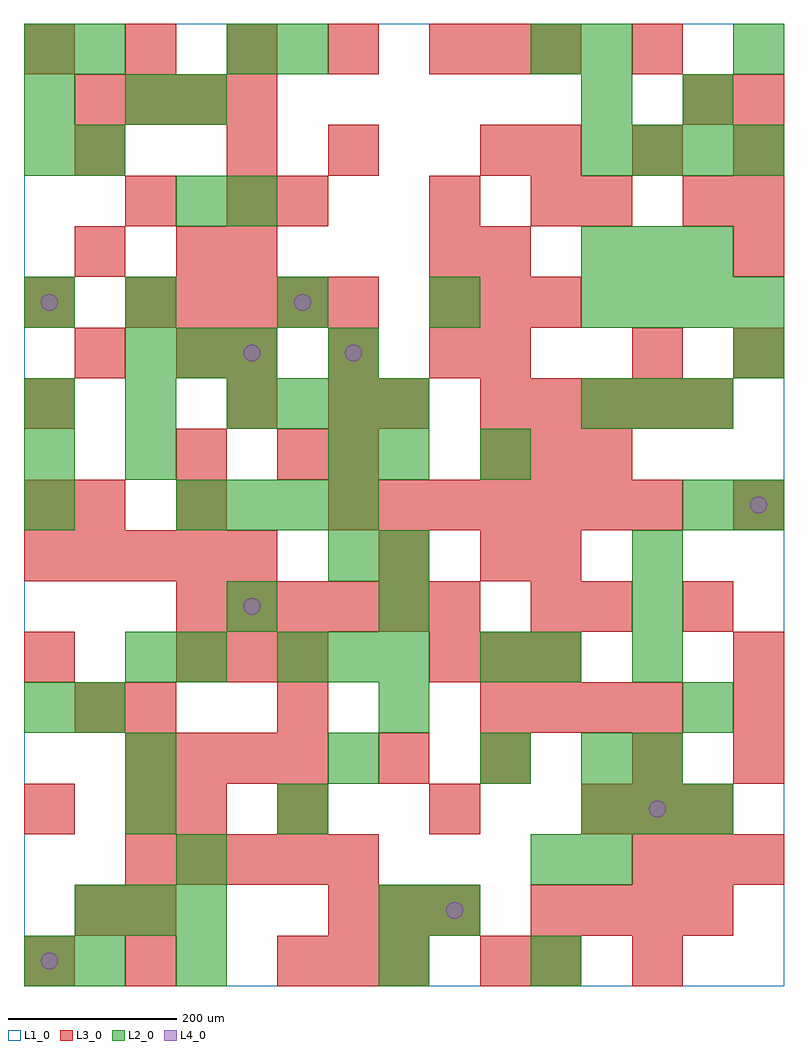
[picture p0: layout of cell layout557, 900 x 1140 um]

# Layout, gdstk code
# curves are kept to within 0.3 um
import gdstk
lib = gdstk.Library(unit=1e-6, precision=1e-09)
def R(c, l, rs):  # rectangles x0, y0, x1, y1
    for r in rs: c.add(gdstk.rectangle(r[:2], r[2:], *l))
def A(c, l, x, y, w, h, nx, ny, dx, dy):  # array of equal rectangles
    R(c, l, [(x+i*dx, y+j*dy, x+i*dx+w, y+j*dy+h) for i in range(nx) for j in range(ny)])
def P(c, l, *ps):  # polygons
    for p in ps: c.add(gdstk.Polygon(p, *l))
L1_0 = (1, 0)
L2_0 = (2, 0)
L3_0 = (3, 0)
L4_0 = (4, 0)

layout557 = lib.new_cell('layout557')
R(layout557, L1_0, [(0,0,900,1140)])
A(layout557, L2_0, 60, 60, 60, 60, 3, 1, 60, 0)
A(layout557, L2_0, 660, 180, 60, 60, 3, 2, 60, 480)
A(layout557, L2_0, 60, 300, 60, 60, 3, 1, 360, 0)
A(layout557, L2_0, 300, 360, 60, 60, 3, 2, 60, 300)
A(layout557, L2_0, 720, 360, 60, 60, 1, 3, 0, 60)
A(layout557, L2_0, 360, 480, 60, 60, 1, 3, 0, 120)
A(layout557, L2_0, 180, 540, 60, 60, 4, 1, 60, 0)
A(layout557, L2_0, 0, 600, 60, 60, 1, 3, 0, 180)
A(layout557, L2_0, 0, 660, 60, 60, 3, 1, 120, 0)
A(layout557, L2_0, 120, 720, 60, 60, 3, 1, 60, 0)
A(layout557, L2_0, 120, 780, 60, 60, 4, 1, 180, 0)
A(layout557, L2_0, 720, 780, 60, 60, 3, 1, 60, 0)
A(layout557, L2_0, 660, 840, 60, 60, 3, 1, 60, 0)
A(layout557, L2_0, 660, 960, 60, 60, 4, 1, 60, 0)
R(layout557, L2_0, [(0,0,60,60), (60,0,120,60), (180,0,240,60), (420,0,480,60), (600,0,660,60), (420,60,480,120), (480,60,540,120), (180,120,240,180), (600,120,660,180), (660,120,720,180), (120,180,180,240), (300,180,360,240), (120,240,180,300), (360,240,420,300), (540,240,600,300), (660,240,720,300), (720,240,780,300), (0,300,60,360), (120,360,180,420), (180,360,240,420), (540,360,600,420), (600,360,660,420), (240,420,300,480), (420,420,480,480), (420,480,480,540), (0,540,60,600), (780,540,840,600), (840,540,900,600), (120,600,180,660), (420,600,480,660), (540,600,600,660), (840,720,900,780), (180,900,240,960), (240,900,300,960), (60,960,120,1020), (0,1020,60,1080), (120,1020,180,1080), (180,1020,240,1080), (660,1020,720,1080), (780,1020,840,1080), (0,1080,60,1140), (60,1080,120,1140), (240,1080,300,1140), (300,1080,360,1140), (600,1080,660,1140), (660,1080,720,1140), (840,1080,900,1140)])
A(layout557, L3_0, 0, 0, 60, 60, 1, 4, 0, 180)
A(layout557, L3_0, 300, 0, 60, 60, 3, 1, 60, 0)
A(layout557, L3_0, 540, 0, 60, 60, 1, 4, 0, 240)
A(layout557, L3_0, 60, 60, 60, 60, 1, 3, 0, 240)
A(layout557, L3_0, 120, 60, 60, 60, 1, 3, 0, 120)
A(layout557, L3_0, 360, 60, 60, 60, 3, 1, 60, 0)
A(layout557, L3_0, 600, 60, 60, 60, 4, 1, 60, 0)
A(layout557, L3_0, 120, 120, 60, 60, 5, 2, 60, 660)
A(layout557, L3_0, 720, 120, 60, 60, 3, 1, 60, 0)
A(layout557, L3_0, 300, 180, 60, 60, 3, 1, 180, 0)
A(layout557, L3_0, 120, 240, 60, 60, 4, 1, 60, 0)
A(layout557, L3_0, 840, 240, 60, 60, 1, 3, 0, 60)
A(layout557, L3_0, 300, 300, 60, 60, 1, 3, 0, 300)
A(layout557, L3_0, 540, 300, 60, 60, 4, 1, 60, 0)
A(layout557, L3_0, 180, 360, 60, 60, 3, 1, 60, 0)
A(layout557, L3_0, 480, 360, 60, 60, 3, 2, 60, 420)
A(layout557, L3_0, 180, 420, 60, 60, 6, 1, 60, 0)
A(layout557, L3_0, 0, 480, 60, 60, 5, 1, 60, 0)
A(layout557, L3_0, 360, 540, 60, 60, 7, 1, 60, 0)
A(layout557, L3_0, 180, 600, 60, 60, 1, 3, 0, 120)
A(layout557, L3_0, 540, 600, 60, 60, 3, 1, 60, 0)
A(layout557, L3_0, 540, 660, 60, 60, 5, 1, 60, 0)
A(layout557, L3_0, 60, 720, 60, 60, 1, 3, 0, 120)
A(layout557, L3_0, 240, 720, 60, 60, 3, 1, 120, 0)
A(layout557, L3_0, 240, 840, 60, 60, 1, 3, 0, 60)
A(layout557, L3_0, 540, 840, 60, 60, 1, 3, 0, 120)
A(layout557, L3_0, 600, 960, 60, 60, 3, 1, 120, 0)
A(layout557, L3_0, 60, 1020, 60, 60, 4, 1, 60, 0)
A(layout557, L3_0, 0, 1080, 60, 60, 5, 1, 120, 0)
R(layout557, L3_0, [(120,0,180,60), (600,0,660,60), (720,0,780,60), (180,180,240,240), (720,180,780,240), (780,180,840,240), (420,240,480,300), (720,240,780,300), (600,420,660,480), (660,420,720,480), (780,420,840,480), (420,480,480,540), (600,480,660,540), (180,540,240,600), (840,540,900,600), (360,600,420,660), (0,660,60,720), (240,660,300,720), (360,660,420,720), (420,660,480,720), (720,720,780,780), (840,720,900,780), (0,780,60,840), (480,840,540,900), (840,840,900,900), (120,900,180,960), (480,900,540,960), (600,900,660,960), (660,900,720,960), (780,900,840,960), (840,900,900,960), (360,960,420,1020), (780,1020,840,1080), (840,1020,900,1080), (600,1080,660,1140), (720,1080,780,1140)])
P(layout557, L4_0, [(40,30),(39.239,33.827),(37.071,37.071),(33.827,39.239),(30,40),(26.173,39.239),(22.929,37.071),(20.761,33.827),(20,30),(20.761,26.173),(22.929,22.929),(26.173,20.761),(30,20),(33.827,20.761),(37.071,22.929),(39.239,26.173)],
  [(40,810),(39.239,813.827),(37.071,817.071),(33.827,819.239),(30,820),(26.173,819.239),(22.929,817.071),(20.761,813.827),(20,810),(20.761,806.173),(22.929,802.929),(26.173,800.761),(30,800),(33.827,800.761),(37.071,802.929),(39.239,806.173)],
  [(280,450),(279.239,453.827),(277.071,457.071),(273.827,459.239),(270,460),(266.173,459.239),(262.929,457.071),(260.761,453.827),(260,450),(260.761,446.173),(262.929,442.929),(266.173,440.761),(270,440),(273.827,440.761),(277.071,442.929),(279.239,446.173)],
  [(280,750),(279.239,753.827),(277.071,757.071),(273.827,759.239),(270,760),(266.173,759.239),(262.929,757.071),(260.761,753.827),(260,750),(260.761,746.173),(262.929,742.929),(266.173,740.761),(270,740),(273.827,740.761),(277.071,742.929),(279.239,746.173)],
  [(340,810),(339.239,813.827),(337.071,817.071),(333.827,819.239),(330,820),(326.173,819.239),(322.929,817.071),(320.761,813.827),(320,810),(320.761,806.173),(322.929,802.929),(326.173,800.761),(330,800),(333.827,800.761),(337.071,802.929),(339.239,806.173)],
  [(400,750),(399.239,753.827),(397.071,757.071),(393.827,759.239),(390,760),(386.173,759.239),(382.929,757.071),(380.761,753.827),(380,750),(380.761,746.173),(382.929,742.929),(386.173,740.761),(390,740),(393.827,740.761),(397.071,742.929),(399.239,746.173)],
  [(520,90),(519.239,93.827),(517.071,97.071),(513.827,99.239),(510,100),(506.173,99.239),(502.929,97.071),(500.761,93.827),(500,90),(500.761,86.173),(502.929,82.929),(506.173,80.761),(510,80),(513.827,80.761),(517.071,82.929),(519.239,86.173)],
  [(760,210),(759.239,213.827),(757.071,217.071),(753.827,219.239),(750,220),(746.173,219.239),(742.929,217.071),(740.761,213.827),(740,210),(740.761,206.173),(742.929,202.929),(746.173,200.761),(750,200),(753.827,200.761),(757.071,202.929),(759.239,206.173)],
  [(880,570),(879.239,573.827),(877.071,577.071),(873.827,579.239),(870,580),(866.173,579.239),(862.929,577.071),(860.761,573.827),(860,570),(860.761,566.173),(862.929,562.929),(866.173,560.761),(870,560),(873.827,560.761),(877.071,562.929),(879.239,566.173)])

lib.write_gds('layout557.gds')
